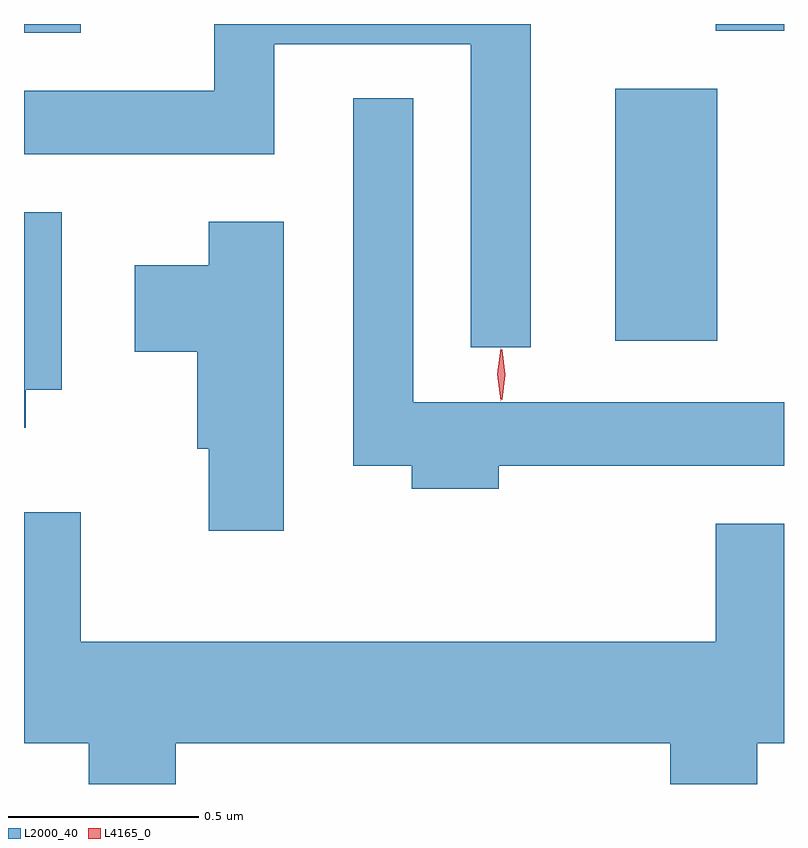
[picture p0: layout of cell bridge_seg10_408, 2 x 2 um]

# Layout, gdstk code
import gdstk
lib = gdstk.Library(unit=1e-6, precision=1e-09)
def R(c, l, rs):  # rectangles x0, y0, x1, y1
    for r in rs: c.add(gdstk.rectangle(r[:2], r[2:], *l))
def P(c, l, *ps):  # polygons
    for p in ps: c.add(gdstk.Polygon(p, *l))
L2000_40 = (2000, 40)
L4165_0 = (4165, 0)

bridge_seg10_408 = lib.new_cell('bridge_seg10_408')
R(bridge_seg10_408, L2000_40, [(1371.506,2099.436,1371.774,2100.099), (1369.95,2100.246,1370.099,2100.269), (1371.771,2100.251,1371.95,2100.269)])
P(bridge_seg10_408, L2000_40, [(1371.284,2100.269),(1370.451,2100.269),(1370.451,2100.094),(1369.95,2100.094),(1369.95,2099.926),(1370.609,2099.926),(1370.609,2100.216),(1371.126,2100.216),(1371.126,2099.418),(1371.284,2099.418)],
  [(1371.199,2099.106),(1371.95,2099.106),(1371.95,2099.274),(1370.974,2099.274),(1370.974,2100.073),(1370.816,2100.073),(1370.816,2099.106),(1370.971,2099.106),(1370.971,2099.046),(1371.199,2099.046)],
  [(1369.954,2099.306),(1370.049,2099.306),(1370.049,2099.774),(1369.95,2099.774),(1369.95,2099.206),(1369.954,2099.206)],
  [(1370.634,2099.749),(1370.436,2099.749),(1370.436,2099.634),(1370.241,2099.634),(1370.241,2099.406),(1370.406,2099.406),(1370.406,2099.151),(1370.436,2099.151),(1370.436,2098.936),(1370.634,2098.936)],
  [(1370.349,2098.376),(1371.651,2098.376),(1371.651,2098.269),(1371.879,2098.269),(1371.879,2098.376),(1371.95,2098.376),(1371.95,2098.954),(1371.771,2098.954),(1371.771,2098.644),(1370.099,2098.644),(1370.099,2098.984),(1369.95,2098.984),(1369.95,2098.376),(1370.121,2098.376),(1370.121,2098.269),(1370.349,2098.269)])
P(bridge_seg10_408, L4165_0, [(1371.205,2099.277),(1371.204,2099.278),(1371.195,2099.347),(1371.204,2099.416),(1371.205,2099.416),(1371.205,2099.416),(1371.215,2099.347),(1371.205,2099.278)],
  [(1371.207,2099.28),(1371.207,2099.28),(1371.197,2099.346),(1371.207,2099.412),(1371.207,2099.413),(1371.208,2099.412),(1371.217,2099.346),(1371.208,2099.28)])

lib.write_gds('bridge_seg10_408.gds')
